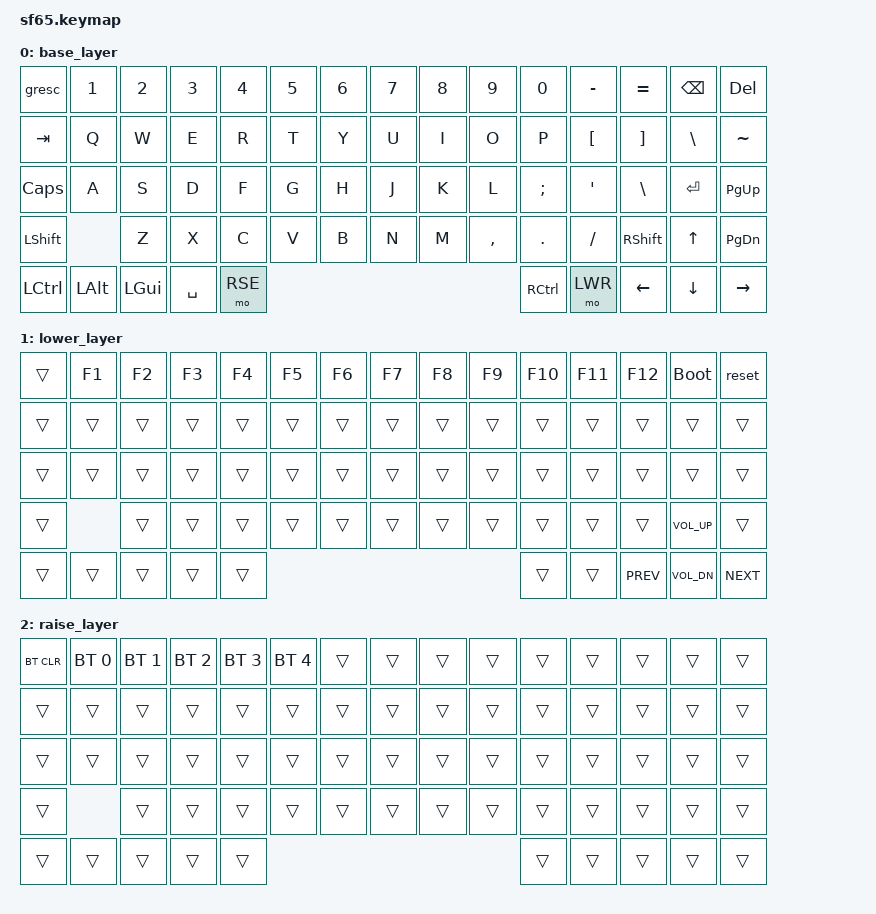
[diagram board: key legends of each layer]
/*
 * Copyright (c) 2020 Eric Lau
 *
 * SPDX-License-Identifier: MIT
 */

#include <behaviors.dtsi>
#include <dt-bindings/zmk/keys.h>
#include <dt-bindings/zmk/bt.h>

#define BASE 0
#define LWR 1
#define RSE 2


/ {
        keymap {
                compatible = "zmk,keymap";

                base_layer {
// -----------------------------------------------------------------------------------------
// | GRESC |  1  |  2   |  3  |  4  |  5  |  6  |  7  |  8   |  9  |  O  |   -  |  =  | BKSP |  DEL  |
// |  TAB  |  Q  |  W   |  E  |  R  |  T  |  Y  |  U   |  I  |  O  |  P  |  [   |   ] |  \   |   ~   |
// | CTRL  |  A  |  S   |  D  |  F  |  G  |  H  |  J   |  K  |  L  |  ;  |  '   |     ENT    | PG_UP |
// | SHFT  |  Z  |  X   |  C  |  V  |  B  |  N  |  M   |  ,  |  .  |  /  |    SHFT    |  UP  | PG_DN |   
// | LCTR | LALT | LGUI |              SPACE             |  RSE    |   LWR  |  LEFT   |  DN  | RIGHT |


                        bindings = <
   &gresc    &kp N1   &kp N2   &kp N3   &kp N4  &kp N5    &kp N6   &kp N7  &kp N8   &kp N9    &kp N0   &kp MINUS &kp EQUAL &kp BSPC  &kp DEL
   &kp TAB   &kp Q    &kp W    &kp E    &kp R   &kp T     &kp Y    &kp U   &kp I    &kp O     &kp P    &kp LBKT  &kp RBKT  &kp BSLH  &kp TILDE
   &kp CAPS  &kp A    &kp S    &kp D    &kp F   &kp G     &kp H    &kp J   &kp K    &kp L     &kp SEMI &kp SQT   &kp BSLH  &kp ENTER &kp PAGE_UP
   &kp LSHFT          &kp Z    &kp X    &kp C   &kp V     &kp B    &kp N   &kp M    &kp COMMA &kp DOT  &kp FSLH  &kp RSHFT &kp UP    &kp PAGE_DOWN
   &kp LCTRL &kp LALT &kp LGUI                  &kp SPACE                           &mo RSE   &kp RCTRL &mo LWR  &kp LEFT  &kp DOWN  &kp RIGHT     
                        >;
                };
       
                     lower_layer {
                        bindings = <
   &trans &kp F1 &kp F2 &kp F3 &kp F4 &kp F5 &kp F6 &kp F7 &kp F8 &kp F9 &kp F10 &kp F11 &kp F12    &bootloader  &reset
   &trans &trans &trans &trans &trans &trans &trans &trans &trans &trans &trans  &trans  &trans     &trans       &trans
   &trans &trans &trans &trans &trans &trans &trans &trans &trans &trans &trans  &trans  &trans     &trans       &trans
   &trans        &trans &trans &trans &trans &trans &trans &trans &trans &trans  &trans  &trans     &kp C_VOL_UP &trans
   &trans &trans &trans                  &trans                   &trans &trans  &trans  &kp C_PREV &kp C_VOL_DN &kp C_NEXT     
                        >;
                };
                
                raise_layer {
                        bindings = <
   &bt BT_CLR &bt BT_SEL 0 &bt BT_SEL 1 &bt BT_SEL 2 &bt BT_SEL 3 &bt BT_SEL 4 &trans &trans &trans &trans &trans &trans &trans &trans &trans
   &trans     &trans       &trans       &trans       &trans       &trans       &trans &trans &trans &trans &trans &trans &trans &trans &trans
   &trans     &trans       &trans       &trans       &trans       &trans       &trans &trans &trans &trans &trans &trans &trans &trans &trans
   &trans                  &trans       &trans       &trans       &trans       &trans &trans &trans &trans &trans &trans &trans &trans &trans
   &trans     &trans       &trans                          &trans                                   &trans &trans &trans &trans &trans &trans     
                        >;
                };
        };
};
